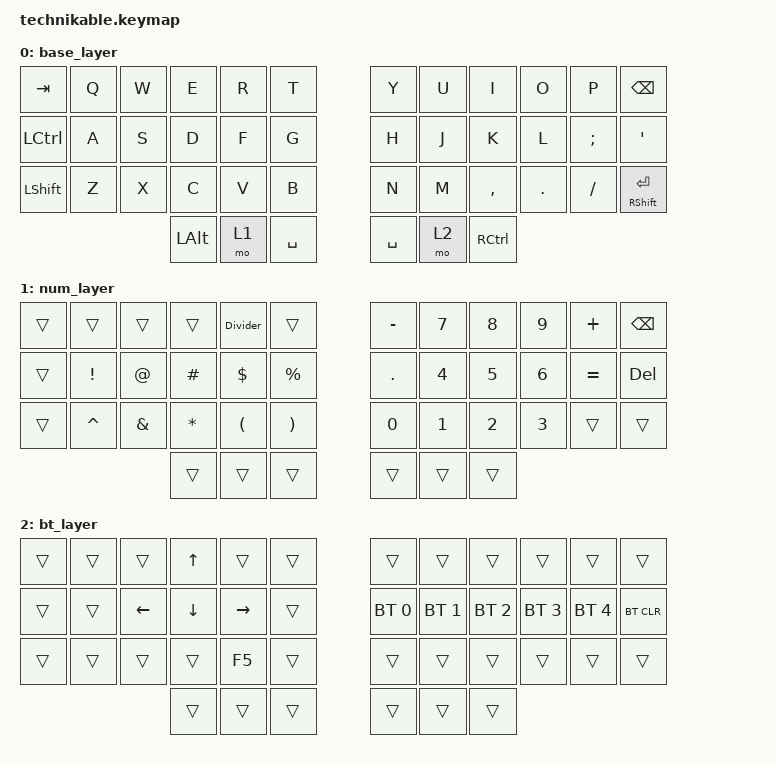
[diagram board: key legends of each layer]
/*
 * Copyright (c) 2022 Pete Johanson
 *
 * SPDX-License-Identifier: MIT
 */

#include <behaviors.dtsi>
#include <dt-bindings/zmk/bt.h>
#include <dt-bindings/zmk/keys.h>

#define BAS_L 0
#define NAV_L 1
#define NUM_L 2
#define SYM_L 3

// Using layer taps on thumbs, having quick tap as well helps w/ repeating space/backspace

&lt { quick_tap_ms = <200>; };

/ {
    chosen { zmk,matrix_transform = &dual_2u_transform; };

    conditional_layers {
        compatible = "zmk,conditional-layers";

        tri_layer {
            if-layers = <1 2>;
            then-layer = <3>;
        };
    };

    macros {
        Divider: Divider {
            compatible = "zmk,behavior-macro";
            #binding-cells = <0>;
            bindings = <&kp MINUS &kp MINUS &kp MINUS &kp MINUS &kp MINUS &kp MINUS &kp MINUS &kp MINUS &kp MINUS &kp MINUS &kp MINUS &kp MINUS>;
            label = "DIVIDER";
        };
    };

    keymap {
        compatible = "zmk,keymap";

        base_layer {
            bindings = <
&kp TAB    &kp Q  &kp W         &kp E  &kp R      &kp T             &kp Y  &kp U  &kp I      &kp O    &kp P     &kp BACKSPACE
&kp LCTRL  &kp A  &kp S         &kp D  &kp F      &kp G             &kp H  &kp J  &kp K      &kp L    &kp SEMI  &kp APOSTROPHE
&kp LSHFT  &kp Z  &kp X         &kp C  &kp V      &kp B             &kp N  &kp M  &kp COMMA  &kp DOT  &kp FSLH  &mt RIGHT_SHIFT ENTER
                  &kp LEFT_ALT  &mo 1  &kp SPACE         &kp SPACE         &mo 2  &kp RCTRL
            >;
        };

        num_layer {
            bindings = <
&trans  &trans           &trans       &trans        &Divider              &trans                         &kp MINUS  &kp N7        &kp N8  &kp N9  &kp PLUS   &kp BACKSPACE
&trans  &kp EXCLAMATION  &kp AT_SIGN  &kp HASH      &kp DOLLAR            &kp PERCENT                    &kp DOT    &kp N4        &kp N5  &kp N6  &kp EQUAL  &kp DEL
&trans  &kp CARET        &kp AMPS     &kp ASTERISK  &kp LEFT_PARENTHESIS  &kp RIGHT_PARENTHESIS          &kp N0     &kp NUMBER_1  &kp N2  &kp N3  &trans     &trans
                         &trans       &trans        &trans                                       &trans             &trans        &trans
            >;
        };

        bt_layer {
            bindings = <
&trans  &trans  &trans    &kp UP    &trans     &trans          &trans        &trans        &trans        &trans        &trans        &trans
&trans  &trans  &kp LEFT  &kp DOWN  &kp RIGHT  &trans          &bt BT_SEL 0  &bt BT_SEL 1  &bt BT_SEL 2  &bt BT_SEL 3  &bt BT_SEL 4  &bt BT_CLR
&trans  &trans  &trans    &trans    &kp F5     &trans          &trans        &trans        &trans        &trans        &trans        &trans
                &trans    &trans    &trans             &trans                &trans        &trans
            >;
        };
    };
};
